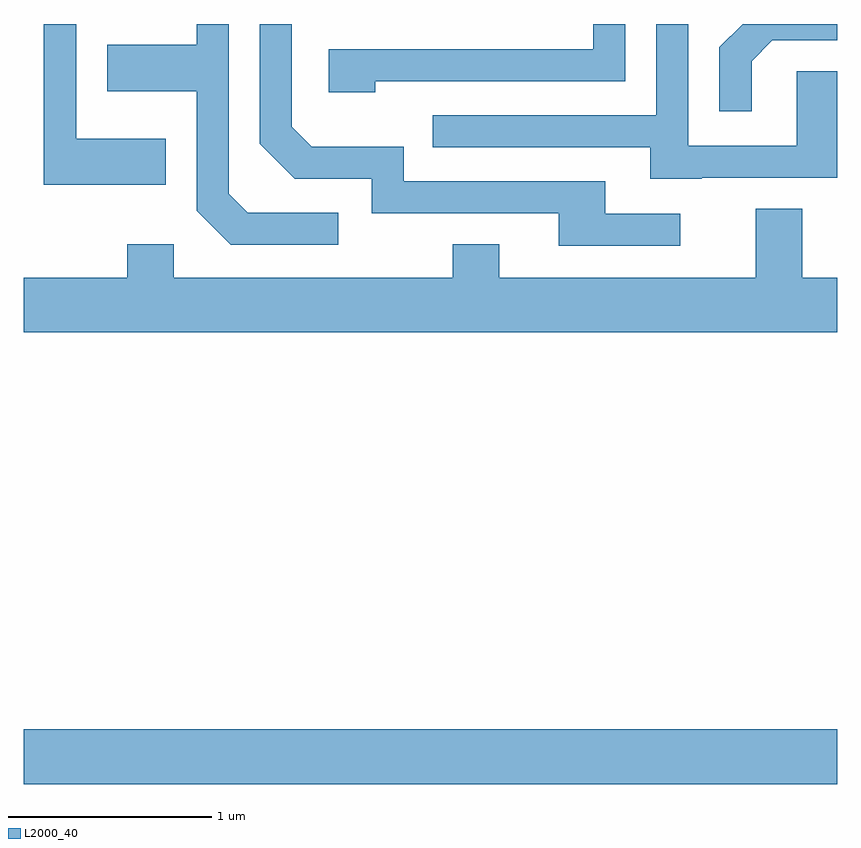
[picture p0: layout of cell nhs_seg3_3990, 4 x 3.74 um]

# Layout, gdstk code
import gdstk
lib = gdstk.Library(unit=1e-6, precision=1e-09)
def R(c, l, rs):  # rectangles x0, y0, x1, y1
    for r in rs: c.add(gdstk.rectangle(r[:2], r[2:], *l))
def P(c, l, *ps):  # polygons
    for p in ps: c.add(gdstk.Polygon(p, *l))
L2000_40 = (2000, 40)

nhs_seg3_3990 = lib.new_cell('nhs_seg3_3990')
R(nhs_seg3_3990, L2000_40, [(301.611,1208.156,305.611,1208.424)])
P(nhs_seg3_3990, L2000_40, [(305.189,1211.709),(305.292,1211.811),(305.611,1211.811),(305.611,1211.892),(305.147,1211.892),(305.031,1211.777),(305.031,1211.463),(305.189,1211.463)],
  [(304.838,1210.959),(304.469,1210.959),(304.469,1211.119),(303.479,1211.119),(303.479,1211.289),(303.027,1211.289),(302.929,1211.387),(302.929,1211.892),(302.771,1211.892),(302.771,1211.304),(302.944,1211.131),(303.321,1211.131),(303.321,1210.961),(304.241,1210.961),(304.241,1210.801),(304.838,1210.801)],
  [(303.158,1210.964),(302.712,1210.964),(302.619,1211.057),(302.619,1211.892),(302.461,1211.892),(302.461,1211.789),(302.021,1211.789),(302.021,1211.561),(302.461,1211.561),(302.461,1210.974),(302.629,1210.806),(303.158,1210.806)],
  [(304.945,1211.136),(305.611,1211.136),(305.611,1211.659),(305.411,1211.659),(305.411,1211.294),(304.879,1211.294),(304.879,1211.892),(304.721,1211.892),(304.721,1211.444),(303.623,1211.444),(303.623,1211.286),(304.691,1211.286),(304.691,1211.131),(304.945,1211.131)],
  [(302.309,1211.329),(301.869,1211.329),(301.869,1211.892),(301.711,1211.892),(301.711,1211.101),(302.309,1211.101)],
  [(303.339,1211.611),(304.569,1211.611),(304.569,1211.892),(304.411,1211.892),(304.411,1211.769),(303.111,1211.769),(303.111,1211.556),(303.339,1211.556)],
  [(305.611,1210.644),(305.439,1210.644),(305.439,1210.984),(305.211,1210.984),(305.211,1210.644),(303.949,1210.644),(303.949,1210.809),(303.721,1210.809),(303.721,1210.644),(302.349,1210.644),(302.349,1210.809),(302.121,1210.809),(302.121,1210.644),(301.611,1210.644),(301.611,1210.376),(305.611,1210.376)])

lib.write_gds('nhs_seg3_3990.gds')
